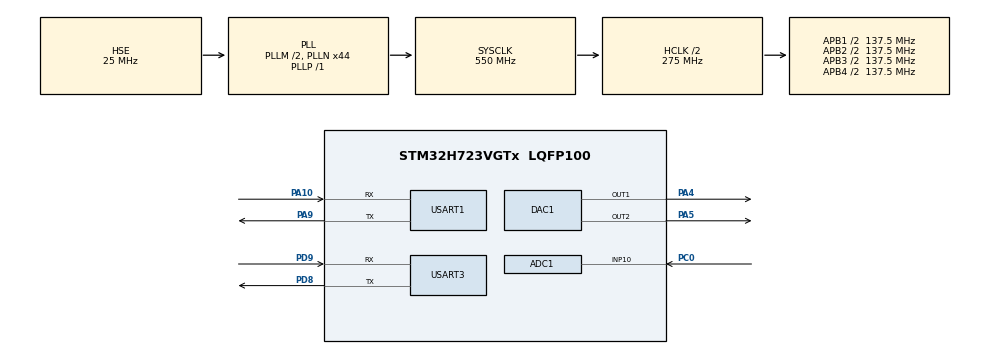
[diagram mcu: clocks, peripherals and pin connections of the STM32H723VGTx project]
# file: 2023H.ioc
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ADC1.Channel-0\#ChannelRegularConversion=ADC_CHANNEL_10
ADC1.ExternalTrigConv=ADC_EXTERNALTRIG_T2_TRGO
ADC1.NbrOfConversionFlag=1
ADC1.OffsetNumber-0\#ChannelRegularConversion=ADC_OFFSET_NONE
ADC1.OffsetSignedSaturation-0\#ChannelRegularConversion=DISABLE
ADC1.Rank-0\#ChannelRegularConversion=1
ADC1.SamplingTime-0\#ChannelRegularConversion=ADC_SAMPLETIME_1CYCLE_5
ADC1.master=1
CORTEX_M7.default_mode_Activation=1
DAC1.DAC_Channel-DAC_OUT1=DAC_CHANNEL_1
DAC1.DAC_Channel-DAC_OUT2=DAC_CHANNEL_2
DAC1.DAC_Trigger-DAC_OUT1=DAC_TRIGGER_T2_TRGO
DAC1.DAC_Trigger-DAC_OUT2=DAC_TRIGGER_T2_TRGO
Dma.ADC1.0.Direction=DMA_PERIPH_TO_MEMORY
Dma.ADC1.0.EventEnable=DISABLE
Dma.ADC1.0.FIFOMode=DMA_FIFOMODE_DISABLE
Dma.ADC1.0.Instance=DMA1_Stream0
Dma.ADC1.0.MemDataAlignment=DMA_MDATAALIGN_HALFWORD
Dma.ADC1.0.MemInc=DMA_MINC_ENABLE
Dma.ADC1.0.Mode=DMA_CIRCULAR
Dma.ADC1.0.PeriphDataAlignment=DMA_PDATAALIGN_HALFWORD
Dma.ADC1.0.PeriphInc=DMA_PINC_DISABLE
Dma.ADC1.0.Polarity=HAL_DMAMUX_REQ_GEN_RISING
Dma.ADC1.0.Priority=DMA_PRIORITY_LOW
Dma.ADC1.0.RequestNumber=1
Dma.ADC1.0.SignalID=NONE
Dma.ADC1.0.SyncEnable=DISABLE
Dma.ADC1.0.SyncPolarity=HAL_DMAMUX_SYNC_NO_EVENT
Dma.ADC1.0.SyncRequestNumber=1
Dma.ADC1.0.SyncSignalID=NONE
Dma.DAC1_CH1.1.Direction=DMA_MEMORY_TO_PERIPH
Dma.DAC1_CH1.1.EventEnable=DISABLE
Dma.DAC1_CH1.1.FIFOMode=DMA_FIFOMODE_DISABLE
Dma.DAC1_CH1.1.Instance=DMA1_Stream1
Dma.DAC1_CH1.1.MemDataAlignment=DMA_MDATAALIGN_HALFWORD
Dma.DAC1_CH1.1.MemInc=DMA_MINC_ENABLE
Dma.DAC1_CH1.1.Mode=DMA_CIRCULAR
Dma.DAC1_CH1.1.PeriphDataAlignment=DMA_PDATAALIGN_HALFWORD
Dma.DAC1_CH1.1.PeriphInc=DMA_PINC_DISABLE
Dma.DAC1_CH1.1.Polarity=HAL_DMAMUX_REQ_GEN_RISING
Dma.DAC1_CH1.1.Priority=DMA_PRIORITY_LOW
Dma.DAC1_CH1.1.RequestNumber=1
Dma.DAC1_CH1.1.SignalID=NONE
Dma.DAC1_CH1.1.SyncEnable=DISABLE
Dma.DAC1_CH1.1.SyncPolarity=HAL_DMAMUX_SYNC_NO_EVENT
Dma.DAC1_CH1.1.SyncRequestNumber=1
Dma.DAC1_CH1.1.SyncSignalID=NONE
Dma.DAC1_CH2.2.Direction=DMA_MEMORY_TO_PERIPH
Dma.DAC1_CH2.2.EventEnable=DISABLE
Dma.DAC1_CH2.2.FIFOMode=DMA_FIFOMODE_DISABLE
Dma.DAC1_CH2.2.Instance=DMA1_Stream2
Dma.DAC1_CH2.2.MemDataAlignment=DMA_MDATAALIGN_HALFWORD
Dma.DAC1_CH2.2.MemInc=DMA_MINC_ENABLE
Dma.DAC1_CH2.2.Mode=DMA_CIRCULAR
Dma.DAC1_CH2.2.PeriphDataAlignment=DMA_PDATAALIGN_HALFWORD
Dma.DAC1_CH2.2.PeriphInc=DMA_PINC_DISABLE
Dma.DAC1_CH2.2.Polarity=HAL_DMAMUX_REQ_GEN_RISING
Dma.DAC1_CH2.2.Priority=DMA_PRIORITY_LOW
Dma.DAC1_CH2.2.RequestNumber=1
Dma.DAC1_CH2.2.SignalID=NONE
Dma.DAC1_CH2.2.SyncEnable=DISABLE
Dma.DAC1_CH2.2.SyncPolarity=HAL_DMAMUX_SYNC_NO_EVENT
Dma.DAC1_CH2.2.SyncRequestNumber=1
Dma.DAC1_CH2.2.SyncSignalID=NONE
Dma.Request0=ADC1
Dma.Request1=DAC1_CH1
Dma.Request2=DAC1_CH2
Mcu.Family=STM32H7
Mcu.Name=STM32H723VGTx
Mcu.Package=LQFP100
NVIC.DMA1_Stream0_IRQn=true\:0\:0\:false\:false\:true\:false\:true\:true
NVIC.DMA1_Stream1_IRQn=true\:0\:0\:false\:false\:true\:false\:true\:true
NVIC.DMA1_Stream2_IRQn=true\:0\:0\:false\:false\:true\:false\:true\:true
NVIC.PriorityGroup=NVIC_PRIORITYGROUP_4
PA10.Mode=Asynchronous
PA10.Signal=USART1_RX
PA13(JTMS/SWDIO).Mode=Serial_Wire
PA13(JTMS/SWDIO).Signal=DEBUG_JTMS-SWDIO
PA14(JTCK/SWCLK).Mode=Serial_Wire
PA14(JTCK/SWCLK).Signal=DEBUG_JTCK-SWCLK
PA4.Signal=COMP_DAC11_group
PA5.Signal=COMP_DAC12_group
PA9.Mode=Asynchronous
PA9.Signal=USART1_TX
PC0.Signal=ADCx_INP10
PD8.Mode=Asynchronous
PD8.Signal=USART3_TX
PD9.Mode=Asynchronous
PD9.Signal=USART3_RX
PH0-OSC_IN.Mode=HSE-External-Oscillator
PH0-OSC_IN.Signal=RCC_OSC_IN
PH1-OSC_OUT.Mode=HSE-External-Oscillator
PH1-OSC_OUT.Signal=RCC_OSC_OUT
ProjectManager.HeapSize=0x200
ProjectManager.StackSize=0x400
ProjectManager.TargetToolchain=MDK-ARM V5.32
RCC.ADCFreq_Value=125000000
RCC.APB1Freq_Value=137500000
RCC.APB2Freq_Value=137500000
RCC.APB3Freq_Value=137500000
RCC.APB4Freq_Value=137500000
RCC.CortexFreq_Value=550000000
RCC.D1PPRE=RCC_APB3_DIV2
RCC.D2PPRE1=RCC_APB1_DIV2
RCC.D2PPRE2=RCC_APB2_DIV2
RCC.D3PPRE=RCC_APB4_DIV2
RCC.DIVM1=2
RCC.DIVM2=5
RCC.DIVN1=44
RCC.DIVN2=50
RCC.DIVP1=1
RCC.DIVP2=2
RCC.DIVQ2=2
RCC.DIVR2=2
RCC.HCLKFreq_Value=275000000
RCC.HSE_VALUE=25000000
RCC.HPRE=RCC_HCLK_DIV2
RCC.PLL2FRACN=0
RCC.PLL3FRACN=0
RCC.PLLFRACN=0
RCC.PLLSourceVirtual=RCC_PLLSOURCE_HSE
RCC.SYSCLKFreq_VALUE=550000000
RCC.SYSCLKSource=RCC_SYSCLKSOURCE_PLLCLK
RCC.USBFreq_Value=275000000
SH.ADCx_INP10.0=ADC1_INP10,IN10-Single-Ended
SH.COMP_DAC11_group.0=DAC1_OUT1,DAC_OUT1
SH.COMP_DAC12_group.0=DAC1_OUT2,DAC_OUT2
STMicroelectronics.X-CUBE-ALGOBUILD.1.5.0.LibraryCcDSPOoLibraryJjDSPOoLibrary=true
TIM2.AutoReloadPreload=TIM_AUTORELOAD_PRELOAD_ENABLE
TIM2.TIM_MasterOutputTrigger=TIM_TRGO_UPDATE
USART1.VirtualMode-Asynchronous=VM_ASYNC
USART3.SwapParam=ADVFEATURE_SWAP_ENABLE
USART3.VirtualMode-Asynchronous=VM_ASYNC
VP_CORDIC_VS_CORDIC.Mode=CORDIC_Activate
VP_FMAC_VS_FMAC.Mode=FMAC_Activate
VP_MEMORYMAP_VS_MEMORYMAP.Mode=CurAppReg
VP_STMicroelectronics.X-CUBE-ALGOBUILD_VS_DSPOoLibraryJjLibrary_1.5.0_1.5.0.Mode=DSPOoLibraryJjLibrary
VP_TIM2_VS_ClockSourceINT.Mode=Internal
board=custom

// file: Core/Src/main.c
/* USER CODE BEGIN Header */
/**
  ******************************************************************************
  * @file           : main.c
  * @brief          : Main program body
  ******************************************************************************
  * @attention
  *
  * Copyright (c) 2026 STMicroelectronics.
  * All rights reserved.
  *
  * This software is licensed under terms that can be found in the LICENSE file
  * in the root directory of this software component.
  * If no LICENSE file comes with this software, it is provided AS-IS.
  *
  ******************************************************************************
  */
/* USER CODE END Header */
#include "main.h"
#include "adc.h"
#include "cordic.h"
#include "dac.h"
#include "dma.h"
#include "fmac.h"
#include "tim.h"
#include "usart.h"
#include "gpio.h"

/* USER CODE BEGIN Includes */
#include "signal_separation.h"
#include "serial_screen.h"

/* USER CODE END Includes */

/* USER CODE BEGIN PV */
static uint8_t separation_started = 0U;
static uint8_t frequencies_sent = 0U;
static uint8_t separate_request = 0U;
static int32_t phase_set_value = 0;
static uint32_t display_freq0_hz = 0U;
static uint32_t display_freq1_hz = 0U;

/* USER CODE END PV */

void SystemClock_Config(void);
static void MPU_Config(void);

int main(void)
{

  /* MPU Configuration--------------------------------------------------------*/
  MPU_Config();

  /* MCU Configuration--------------------------------------------------------*/

  /* Reset of all peripherals, Initializes the Flash interface and the Systick. */
  HAL_Init();

  /* Configure the system clock */
  SystemClock_Config();

  /* Initialize all configured peripherals */
  MX_GPIO_Init();
  MX_DMA_Init();
  MX_ADC1_Init();
  MX_DAC1_Init();
  MX_CORDIC_Init();
  MX_FMAC_Init();
  MX_TIM2_Init();
  MX_USART1_UART_Init();
  MX_USART3_UART_Init();
  /* USER CODE BEGIN 2 */
  SerialScreen_Init();

  /* USER CODE END 2 */

  /* Infinite loop */
  while (1)
  {

    /* USER CODE BEGIN 3 */
    SerialScreen_Task();
    if (SerialScreen_TakePhaseSetRequest(&phase_set_value) != 0U)
    {
      SignalSeparation_SetPhaseOffsetDeg(phase_set_value);
    }
    separate_request = SerialScreen_TakeSeparateRequest();
    if (separate_request != 0U)
    {
      if (separation_started == 0U)
      {
        SignalSeparation_Start();
        separation_started = 1U;
      }
      else
      {
        SignalSeparation_RestartIdentify();
      }
      frequencies_sent = 0U;
    }
    if (separation_started != 0U)
    {
      SignalSeparation_Task();
      if ((frequencies_sent == 0U) &&
          (SignalSeparation_GetFrequencies(&display_freq0_hz, &display_freq1_hz) != 0U))
      {
        SerialScreen_SendFrequencies(display_freq0_hz, display_freq1_hz);
        frequencies_sent = 1U;
      }
    }
  }
  /* USER CODE END 3 */
}

void SystemClock_Config(void)
{
  RCC_OscInitTypeDef RCC_OscInitStruct = {0};
  RCC_ClkInitTypeDef RCC_ClkInitStruct = {0};

  /** Supply configuration update enable
  */
  HAL_PWREx_ConfigSupply(PWR_LDO_SUPPLY);

  /** Configure the main internal regulator output voltage
  */
  __HAL_PWR_VOLTAGESCALING_CONFIG(PWR_REGULATOR_VOLTAGE_SCALE0);

  while(!__HAL_PWR_GET_FLAG(PWR_FLAG_VOSRDY)) {}

  /** Initializes the RCC Oscillators according to the specified parameters
  * in the RCC_OscInitTypeDef structure.
  */
  RCC_OscInitStruct.OscillatorType = RCC_OSCILLATORTYPE_HSE;
  RCC_OscInitStruct.HSEState = RCC_HSE_ON;
  RCC_OscInitStruct.PLL.PLLState = RCC_PLL_ON;
  RCC_OscInitStruct.PLL.PLLSource = RCC_PLLSOURCE_HSE;
  RCC_OscInitStruct.PLL.PLLM = 2;
  RCC_OscInitStruct.PLL.PLLN = 44;
  RCC_OscInitStruct.PLL.PLLP = 1;
  RCC_OscInitStruct.PLL.PLLQ = 2;
  RCC_OscInitStruct.PLL.PLLR = 2;
  RCC_OscInitStruct.PLL.PLLRGE = RCC_PLL1VCIRANGE_3;
  RCC_OscInitStruct.PLL.PLLVCOSEL = RCC_PLL1VCOWIDE;
  RCC_OscInitStruct.PLL.PLLFRACN = 0;
  if (HAL_RCC_OscConfig(&RCC_OscInitStruct) != HAL_OK)
  {
    Error_Handler();
  }

  /** Initializes the CPU, AHB and APB buses clocks
  */
  RCC_ClkInitStruct.ClockType = RCC_CLOCKTYPE_HCLK|RCC_CLOCKTYPE_SYSCLK
                              |RCC_CLOCKTYPE_PCLK1|RCC_CLOCKTYPE_PCLK2
                              |RCC_CLOCKTYPE_D3PCLK1|RCC_CLOCKTYPE_D1PCLK1;
  RCC_ClkInitStruct.SYSCLKSource = RCC_SYSCLKSOURCE_PLLCLK;
  RCC_ClkInitStruct.SYSCLKDivider = RCC_SYSCLK_DIV1;
  RCC_ClkInitStruct.AHBCLKDivider = RCC_HCLK_DIV2;
  RCC_ClkInitStruct.APB3CLKDivider = RCC_APB3_DIV2;
  RCC_ClkInitStruct.APB1CLKDivider = RCC_APB1_DIV2;
  RCC_ClkInitStruct.APB2CLKDivider = RCC_APB2_DIV2;
  RCC_ClkInitStruct.APB4CLKDivider = RCC_APB4_DIV2;

  if (HAL_RCC_ClockConfig(&RCC_ClkInitStruct, FLASH_LATENCY_3) != HAL_OK)
  {
    Error_Handler();
  }
}

 /* MPU Configuration */

void MPU_Config(void)
{
  MPU_Region_InitTypeDef MPU_InitStruct = {0};

  /* Disables the MPU */
  HAL_MPU_Disable();

  /** Initializes and configures the Region and the memory to be protected
  */
  MPU_InitStruct.Enable = MPU_REGION_ENABLE;
  MPU_InitStruct.Number = MPU_REGION_NUMBER0;
  MPU_InitStruct.BaseAddress = 0x0;
  MPU_InitStruct.Size = MPU_REGION_SIZE_4GB;
  MPU_InitStruct.SubRegionDisable = 0x87;
  MPU_InitStruct.TypeExtField = MPU_TEX_LEVEL0;
  MPU_InitStruct.AccessPermission = MPU_REGION_NO_ACCESS;
  MPU_InitStruct.DisableExec = MPU_INSTRUCTION_ACCESS_DISABLE;
  MPU_InitStruct.IsShareable = MPU_ACCESS_SHAREABLE;
  MPU_InitStruct.IsCacheable = MPU_ACCESS_NOT_CACHEABLE;
  MPU_InitStruct.IsBufferable = MPU_ACCESS_NOT_BUFFERABLE;

  HAL_MPU_ConfigRegion(&MPU_InitStruct);
  /* Enables the MPU */
  HAL_MPU_Enable(MPU_PRIVILEGED_DEFAULT);

}

void Error_Handler(void)
{
  __disable_irq();
  while (1)
  {
  }
}
